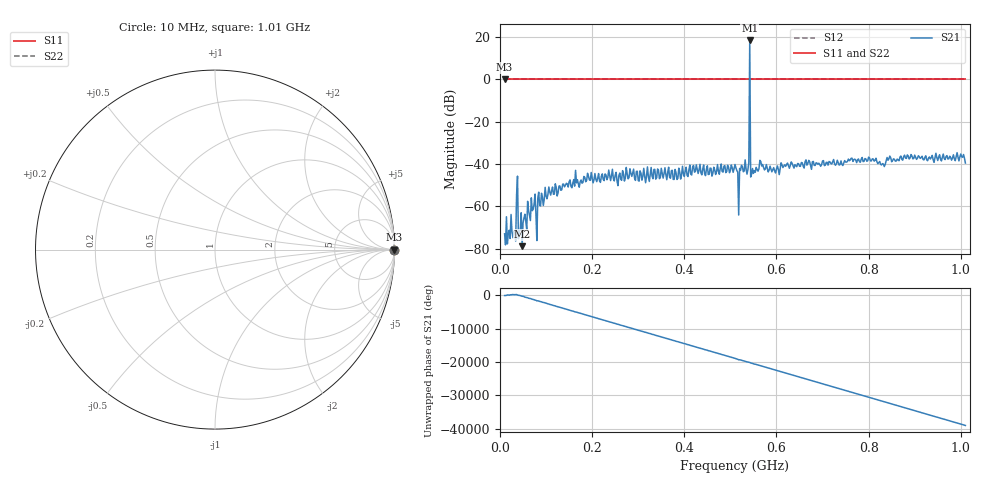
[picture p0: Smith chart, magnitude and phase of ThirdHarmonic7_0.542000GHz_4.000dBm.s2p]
! 8/17/2025 4:19:59 PM
! C:\ANRITSUVNA\TEMP\TEMP.S2P
! CHANNEL.1
! TR.MEASUREMENT
! RAW.DATA
! RF.CORRECTION.OFF
! AVERAGING.OFF
! IF.BANDWIDTH: 5KHZ
! SWEEPTYPE:  FREQ.SWEEP(Linear)
! Reference Plane Port Info
! PORT:  PORT1  PORT2
! DISTANCE:  0  m  0  m
! TIME:  0  s  0  s
! PHASE.OFFSET:  0  deg.  0  deg.
! LOSS:  0  dB  0  dB
! REF.LOSS:  0  dB  0  dB
! REF.FREQ:  0  Hz  0  Hz
! Power Info
! POWER:  -20  dBm  -20  dBm
! EFF.POWER:  -20  dBm  -20  dBm
! SOURCE.ATTEN:  0  dB  0  dB
! TEST.ATTEN:  0  dB  0  dB
# GHZ S RI R 50.0
! FREQ.GHZ  S11RE  S11IM  S21RE  S21IM  S12RE  S12IM  S22RE  S22IM
!; PortSelection: Port_12
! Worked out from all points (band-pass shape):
!   501 points, 10 MHz to 1.01 GHz, reference 50 ohm
!   highest |S21| = 18.30 dB at 542 MHz (marker M1); lowest = -78.7 dB at 48 MHz (marker M2)
!   |S21| within 3 dB of the highest: 541.8957 MHz to 542.0932 MHz (197.4 kHz wide, 0.0364 % of centre)
!   lowest |S11| = 0.0 dB at 10 MHz (marker M3)
!   |S11| at or under -10 dB: nowhere
!   |S22| runs from 0.0 to 0.0 dB; largest |S21 - S12| = 7.4
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0.01  1 0  -3.02e-05 -0.000224  1 0  1 0
0.03  1 0  -0.000236 0.000103  1 0  1 0
0.034  1 0  -0.000153 6e-07  1 0  1 0
0.04  1 0  0.000156 -7.63e-05  1 0  1 0
0.044  1 0  -8.32e-05 -0.000266  1 0  1 0
0.048  1 0  8.91e-05 7.39e-05  1 0  1 0
0.072  1 0  -0.000805 0.000283  1 0  1 0
0.076  1 0  0.00175 -0.000881  1 0  1 0
0.102  1 0  0.00121 0.00091  1 0  1 0
0.178  1 0  -0.00327 -0.00133  1 0  1 0
0.344  1 0  0.00689 -0.00212  1 0  1 0
0.51  1 0  -0.00968 -0.00119  1 0  1 0
0.518  1 0  -0.000309 0.000547  1 0  1 0
0.536  1 0  -0.0045 -0.00366  1 0  1 0
0.538  1 0  -0.00645 0.00354  1 0  1 0
0.542  1 0  6.685 4.792  1 0  1 0
0.546  1 0  -0.00556 -0.00161  1 0  1 0
0.548  1 0  -0.00226 0.00751  1 0  1 0
0.568  1 0  0.00848 0.00302  1 0  1 0
0.678  1 0  0.00562 -0.00984  1 0  1 0
0.844  1 0  -0.00546 0.0122  1 0  1 0
1.01  1 0  -0.000711 -0.0105  1 0  1 0
